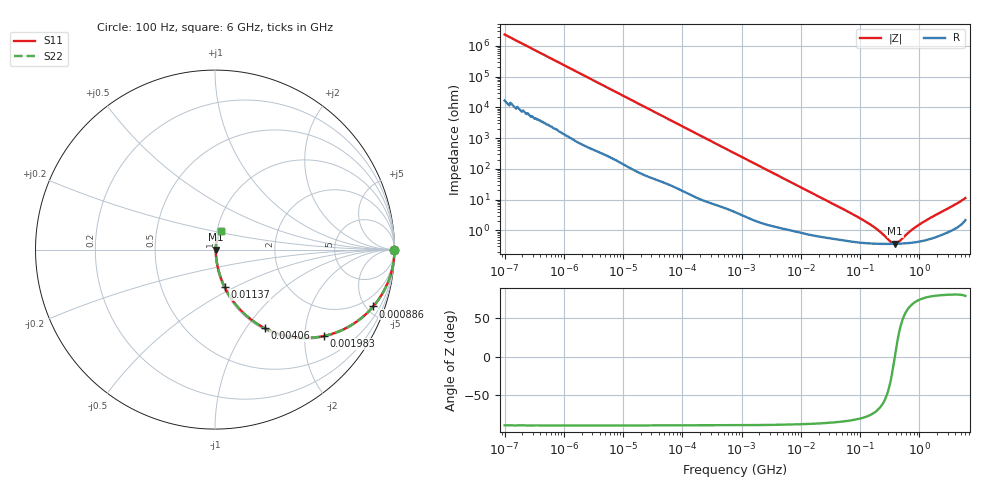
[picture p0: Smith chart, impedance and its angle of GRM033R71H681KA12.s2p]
!Murata Part Number: GRM033R71H681KA12
!These Parameters are Measured in Series Mode Connection
!Data Generated on Mar 30, 2021
!  o--ll--o
!Port1  Port2
!  o------o
!Operation Temp=25[degC], DC Bias Voltage=0[V]
!Freq. Start=100[Hz] Stop=6[GHz] 401[Steps]
# Hz S RI R 50
!Freq.(Hz) S11(Real) S11(Imag) S21(Real) S21(Imag) S12(Real) S12(Imag) S22(Real) S22(Imag)
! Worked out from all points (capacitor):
!   401 points, 100 Hz to 6 GHz, reference 50 ohm
!   read as one part in series: C = 672 pF near 109 Hz
!   lowest |Z| = 364 mohm at 390.8 MHz (marker M1)
!   series resonance near 387 MHz, so ESL is about 250 pH
!   S11 on the Smith chart (normalised r, x): 100 Hz: open; 886 kHz: 1.07, -5.55; 1.983 MHz: 1.04, -2.49; 4.06 MHz: 1.02, -1.22; 11.37 MHz: 1.02, -0.44; 6 GHz: 1.04, +0.22
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100  1 -4.23e-05  3e-07 4.23e-05  3e-07 4.23e-05  1 -4.23e-05
245  1 -0.000103  7e-07 0.000103  7e-07 0.000103  1 -0.000103
2008  1 -0.00084  5.1e-06 0.00084  5.1e-06 0.00084  1 -0.00084
40335  0.9996 -0.0167  0.000393 0.0167  0.000393 0.0167  0.9996 -0.0167
231233  0.9903 -0.0939  0.00973 0.0939  0.00973 0.0939  0.9903 -0.0939
774597  0.9066 -0.2849  0.0934 0.2849  0.0934 0.2849  0.9066 -0.2849
885955  0.8819 -0.3164  0.1181 0.3164  0.1181 0.3164  0.8819 -0.3164
1325623  0.7726 -0.4125  0.2274 0.4125  0.2274 0.4125  0.7726 -0.4125
1983483  0.6066 -0.4812  0.3934 0.4812  0.3934 0.4812  0.6066 -0.4812
4060267  0.2762 -0.437  0.7238 0.437  0.7238 0.437  0.2762 -0.437
6644369  0.13 -0.3233  0.87 0.3233  0.87 0.3233  0.13 -0.3233
1.137099e7  0.0531 -0.2073  0.9469 0.2073  0.9469 0.2073  0.0531 -0.2073
1.555665e7  0.0318 -0.1556  0.9682 0.1556  0.9682 0.1556  0.0318 -0.1556
3.64232e7  0.00995 -0.0685  0.99 0.0685  0.99 0.0685  0.00995 -0.0685
1.220122e8  0.00419 -0.0191  0.9958 0.0191  0.9958 0.0191  0.00419 -0.0191
1.996653e8  0.00373 -0.00957  0.9963 0.00957  0.9963 0.00957  0.00373 -0.00957
3.124326e8  0.00361 -0.0029  0.9964 0.0029  0.9964 0.0029  0.00361 -0.0029
3.908258e8  0.00363 0.000135  0.9964 -0.000135  0.9964 -0.000135  0.00363 0.000135
4.470121e8  0.00366 0.00195  0.9963 -0.00195  0.9963 -0.00195  0.00366 0.00195
6.994765e8  0.00395 0.00843  0.9961 -0.00843  0.9961 -0.00843  0.00395 0.00843
1.046602e9  0.00458 0.0156  0.9954 -0.0156  0.9954 -0.0156  0.00458 0.0156
6e9  0.0323 0.1044  0.9677 -0.1044  0.9677 -0.1044  0.0323 0.1044
